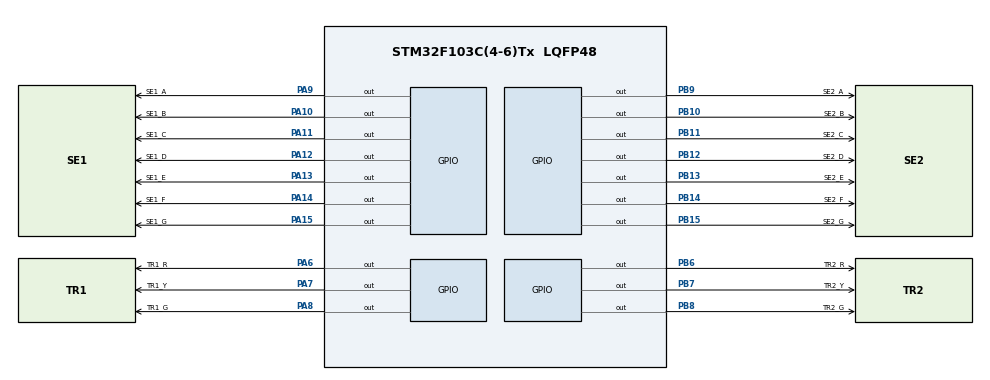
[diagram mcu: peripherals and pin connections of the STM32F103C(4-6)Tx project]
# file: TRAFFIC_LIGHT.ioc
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Mcu.Family=STM32F1
Mcu.Name=STM32F103C(4-6)Tx
Mcu.Package=LQFP48
NVIC.PriorityGroup=NVIC_PRIORITYGROUP_4
PA10.GPIO_Label=SE1_B
PA10.Signal=GPIO_Output
PA11.GPIO_Label=SE1_C
PA11.Signal=GPIO_Output
PA12.GPIO_Label=SE1_D
PA12.Signal=GPIO_Output
PA13.GPIO_Label=SE1_E
PA13.Signal=GPIO_Output
PA14.GPIO_Label=SE1_F
PA14.Signal=GPIO_Output
PA15.GPIO_Label=SE1_G
PA15.Signal=GPIO_Output
PA6.GPIO_Label=TR1_R
PA6.Signal=GPIO_Output
PA7.GPIO_Label=TR1_Y
PA7.Signal=GPIO_Output
PA8.GPIO_Label=TR1_G
PA8.Signal=GPIO_Output
PA9.GPIO_Label=SE1_A
PA9.Signal=GPIO_Output
PB10.GPIO_Label=SE2_B
PB10.Signal=GPIO_Output
PB11.GPIO_Label=SE2_C
PB11.Signal=GPIO_Output
PB12.GPIO_Label=SE2_D
PB12.Signal=GPIO_Output
PB13.GPIO_Label=SE2_E
PB13.Signal=GPIO_Output
PB14.GPIO_Label=SE2_F
PB14.Signal=GPIO_Output
PB15.GPIO_Label=SE2_G
PB15.Signal=GPIO_Output
PB6.GPIO_Label=TR2_R
PB6.Signal=GPIO_Output
PB7.GPIO_Label=TR2_Y
PB7.Signal=GPIO_Output
PB8.GPIO_Label=TR2_G
PB8.Signal=GPIO_Output
PB9.GPIO_Label=SE2_A
PB9.Signal=GPIO_Output
ProjectManager.HeapSize=0x200
ProjectManager.StackSize=0x400
ProjectManager.TargetToolchain=STM32CubeIDE
RCC.APB1Freq_Value=8000000
RCC.APB2Freq_Value=8000000
board=custom

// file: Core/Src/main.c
/* USER CODE BEGIN Header */
/**
  ******************************************************************************
  * @file           : main.c
  * @brief          : Main program body
  ******************************************************************************
  * @attention
  *
  * Copyright (c) 2022 STMicroelectronics.
  * All rights reserved.
  *
  * This software is licensed under terms that can be found in the LICENSE file
  * in the root directory of this software component.
  * If no LICENSE file comes with this software, it is provided AS-IS.
  *
  ******************************************************************************
  */
/* USER CODE END Header */
#include "main.h"

void SystemClock_Config(void);
static void MX_GPIO_Init(void);

int main(void)
{

  /* MCU Configuration--------------------------------------------------------*/

  /* Reset of all peripherals, Initializes the Flash interface and the Systick. */
  HAL_Init();

  /* Configure the system clock */
  SystemClock_Config();

  /* Initialize all configured peripherals */
  MX_GPIO_Init();

  /* Infinite loop */
  /* USER CODE BEGIN WHILE */
  void display7SEG1(int num) {
	  if (num == 0) {
	 	  HAL_GPIO_WritePin(SE1_A_GPIO_Port, SE1_A_Pin, GPIO_PIN_RESET);
	  	  HAL_GPIO_WritePin(SE1_B_GPIO_Port, SE1_B_Pin, GPIO_PIN_RESET);
	 	  HAL_GPIO_WritePin(SE1_C_GPIO_Port, SE1_C_Pin, GPIO_PIN_RESET);
	 	  HAL_GPIO_WritePin(SE1_D_GPIO_Port, SE1_D_Pin, GPIO_PIN_RESET);
	 	  HAL_GPIO_WritePin(SE1_E_GPIO_Port, SE1_E_Pin, GPIO_PIN_RESET);
	 	  HAL_GPIO_WritePin(SE1_F_GPIO_Port, SE1_F_Pin, GPIO_PIN_RESET);
	 	  HAL_GPIO_WritePin(SE1_G_GPIO_Port, SE1_G_Pin, GPIO_PIN_SET);
	  }
	  else if (num == 1) {
		  HAL_GPIO_WritePin(SE1_A_GPIO_Port, SE1_A_Pin, GPIO_PIN_SET);
		  HAL_GPIO_WritePin(SE1_B_GPIO_Port, SE1_B_Pin, GPIO_PIN_RESET);
		  HAL_GPIO_WritePin(SE1_C_GPIO_Port, SE1_C_Pin, GPIO_PIN_RESET);
		  HAL_GPIO_WritePin(SE1_D_GPIO_Port, SE1_D_Pin, GPIO_PIN_SET);
		  HAL_GPIO_WritePin(SE1_E_GPIO_Port, SE1_E_Pin, GPIO_PIN_SET);
		  HAL_GPIO_WritePin(SE1_F_GPIO_Port, SE1_F_Pin, GPIO_PIN_SET);
		  HAL_GPIO_WritePin(SE1_G_GPIO_Port, SE1_G_Pin, GPIO_PIN_SET);
	  }
	  else if (num == 2) {
		  HAL_GPIO_WritePin(SE1_A_GPIO_Port, SE1_A_Pin, GPIO_PIN_RESET);
		  HAL_GPIO_WritePin(SE1_B_GPIO_Port, SE1_B_Pin, GPIO_PIN_RESET);
		  HAL_GPIO_WritePin(SE1_C_GPIO_Port, SE1_C_Pin, GPIO_PIN_SET);
		  HAL_GPIO_WritePin(SE1_D_GPIO_Port, SE1_D_Pin, GPIO_PIN_RESET);
		  HAL_GPIO_WritePin(SE1_E_GPIO_Port, SE1_E_Pin, GPIO_PIN_RESET);
		  HAL_GPIO_WritePin(SE1_F_GPIO_Port, SE1_F_Pin, GPIO_PIN_SET);
		  HAL_GPIO_WritePin(SE1_G_GPIO_Port, SE1_G_Pin, GPIO_PIN_RESET);
	  }
	  else if (num == 3) {
		  HAL_GPIO_WritePin(SE1_A_GPIO_Port, SE1_A_Pin, GPIO_PIN_RESET);
		  HAL_GPIO_WritePin(SE1_B_GPIO_Port, SE1_B_Pin, GPIO_PIN_RESET);
		  HAL_GPIO_WritePin(SE1_C_GPIO_Port, SE1_C_Pin, GPIO_PIN_RESET);
		  HAL_GPIO_WritePin(SE1_D_GPIO_Port, SE1_D_Pin, GPIO_PIN_RESET);
		  HAL_GPIO_WritePin(SE1_E_GPIO_Port, SE1_E_Pin, GPIO_PIN_SET);
		  HAL_GPIO_WritePin(SE1_F_GPIO_Port, SE1_F_Pin, GPIO_PIN_SET);
		  HAL_GPIO_WritePin(SE1_G_GPIO_Port, SE1_G_Pin, GPIO_PIN_RESET);
	  }
	  else if (num == 4) {
		  HAL_GPIO_WritePin(SE1_A_GPIO_Port, SE1_A_Pin, GPIO_PIN_SET);
		  HAL_GPIO_WritePin(SE1_B_GPIO_Port, SE1_B_Pin, GPIO_PIN_RESET);
		  HAL_GPIO_WritePin(SE1_C_GPIO_Port, SE1_C_Pin, GPIO_PIN_RESET);
		  HAL_GPIO_WritePin(SE1_D_GPIO_Port, SE1_D_Pin, GPIO_PIN_SET);
		  HAL_GPIO_WritePin(SE1_E_GPIO_Port, SE1_E_Pin, GPIO_PIN_SET);
		  HAL_GPIO_WritePin(SE1_F_GPIO_Port, SE1_F_Pin, GPIO_PIN_RESET);
		  HAL_GPIO_WritePin(SE1_G_GPIO_Port, SE1_G_Pin, GPIO_PIN_RESET);
	  }
	  else if (num == 5) {
		  HAL_GPIO_WritePin(SE1_A_GPIO_Port, SE1_A_Pin, GPIO_PIN_RESET);
		  HAL_GPIO_WritePin(SE1_B_GPIO_Port, SE1_B_Pin, GPIO_PIN_SET);
		  HAL_GPIO_WritePin(SE1_C_GPIO_Port, SE1_C_Pin, GPIO_PIN_RESET);
		  HAL_GPIO_WritePin(SE1_D_GPIO_Port, SE1_D_Pin, GPIO_PIN_RESET);
		  HAL_GPIO_WritePin(SE1_E_GPIO_Port, SE1_E_Pin, GPIO_PIN_SET);
		  HAL_GPIO_WritePin(SE1_F_GPIO_Port, SE1_F_Pin, GPIO_PIN_RESET);
		  HAL_GPIO_WritePin(SE1_G_GPIO_Port, SE1_G_Pin, GPIO_PIN_RESET);
	  }
	  else if (num == 6) {
		  HAL_GPIO_WritePin(SE1_A_GPIO_Port, SE1_A_Pin, GPIO_PIN_RESET);
		  HAL_GPIO_WritePin(SE1_B_GPIO_Port, SE1_B_Pin, GPIO_PIN_SET);
		  HAL_GPIO_WritePin(SE1_C_GPIO_Port, SE1_C_Pin, GPIO_PIN_RESET);
		  HAL_GPIO_WritePin(SE1_D_GPIO_Port, SE1_D_Pin, GPIO_PIN_RESET);
		  HAL_GPIO_WritePin(SE1_E_GPIO_Port, SE1_E_Pin, GPIO_PIN_RESET);
		  HAL_GPIO_WritePin(SE1_F_GPIO_Port, SE1_F_Pin, GPIO_PIN_RESET);
		  HAL_GPIO_WritePin(SE1_G_GPIO_Port, SE1_G_Pin, GPIO_PIN_RESET);
	  }
	  else if (num == 7) {
		  HAL_GPIO_WritePin(SE1_A_GPIO_Port, SE1_A_Pin, GPIO_PIN_RESET);
		  HAL_GPIO_WritePin(SE1_B_GPIO_Port, SE1_B_Pin, GPIO_PIN_RESET);
		  HAL_GPIO_WritePin(SE1_C_GPIO_Port, SE1_C_Pin, GPIO_PIN_RESET);
		  HAL_GPIO_WritePin(SE1_D_GPIO_Port, SE1_D_Pin, GPIO_PIN_SET);
		  HAL_GPIO_WritePin(SE1_E_GPIO_Port, SE1_E_Pin, GPIO_PIN_SET);
		  HAL_GPIO_WritePin(SE1_F_GPIO_Port, SE1_F_Pin, GPIO_PIN_SET);
		  HAL_GPIO_WritePin(SE1_G_GPIO_Port, SE1_G_Pin, GPIO_PIN_SET);
	  }
	  else if (num == 8) {
		  HAL_GPIO_WritePin(SE1_A_GPIO_Port, SE1_A_Pin, GPIO_PIN_RESET);
		  HAL_GPIO_WritePin(SE1_B_GPIO_Port, SE1_B_Pin, GPIO_PIN_RESET);
		  HAL_GPIO_WritePin(SE1_C_GPIO_Port, SE1_C_Pin, GPIO_PIN_RESET);
		  HAL_GPIO_WritePin(SE1_D_GPIO_Port, SE1_D_Pin, GPIO_PIN_RESET);
		  HAL_GPIO_WritePin(SE1_E_GPIO_Port, SE1_E_Pin, GPIO_PIN_RESET);
		  HAL_GPIO_WritePin(SE1_F_GPIO_Port, SE1_F_Pin, GPIO_PIN_RESET);
		  HAL_GPIO_WritePin(SE1_G_GPIO_Port, SE1_G_Pin, GPIO_PIN_RESET);
	  }
	  else if (num == 9) {
		  HAL_GPIO_WritePin(SE1_A_GPIO_Port, SE1_A_Pin, GPIO_PIN_RESET);
		  HAL_GPIO_WritePin(SE1_B_GPIO_Port, SE1_B_Pin, GPIO_PIN_RESET);
		  HAL_GPIO_WritePin(SE1_C_GPIO_Port, SE1_C_Pin, GPIO_PIN_RESET);
		  HAL_GPIO_WritePin(SE1_D_GPIO_Port, SE1_D_Pin, GPIO_PIN_RESET);
		  HAL_GPIO_WritePin(SE1_E_GPIO_Port, SE1_E_Pin, GPIO_PIN_SET);
		  HAL_GPIO_WritePin(SE1_F_GPIO_Port, SE1_F_Pin, GPIO_PIN_RESET);
		  HAL_GPIO_WritePin(SE1_G_GPIO_Port, SE1_G_Pin, GPIO_PIN_RESET);
	  }
	  else {
		  HAL_GPIO_WritePin(SE1_A_GPIO_Port, SE1_A_Pin, GPIO_PIN_SET);
		  HAL_GPIO_WritePin(SE1_B_GPIO_Port, SE1_B_Pin, GPIO_PIN_SET);
		  HAL_GPIO_WritePin(SE1_C_GPIO_Port, SE1_C_Pin, GPIO_PIN_SET);
		  HAL_GPIO_WritePin(SE1_D_GPIO_Port, SE1_D_Pin, GPIO_PIN_SET);
		  HAL_GPIO_WritePin(SE1_E_GPIO_Port, SE1_E_Pin, GPIO_PIN_SET);
		  HAL_GPIO_WritePin(SE1_F_GPIO_Port, SE1_F_Pin, GPIO_PIN_SET);
		  HAL_GPIO_WritePin(SE1_G_GPIO_Port, SE1_G_Pin, GPIO_PIN_SET);
	  }
  }
  void display7SEG2(int num) {
	  if (num == 0) {
	 	  HAL_GPIO_WritePin(SE2_A_GPIO_Port, SE2_A_Pin, GPIO_PIN_RESET);
	  	  HAL_GPIO_WritePin(SE2_B_GPIO_Port, SE2_B_Pin, GPIO_PIN_RESET);
	 	  HAL_GPIO_WritePin(SE2_C_GPIO_Port, SE2_C_Pin, GPIO_PIN_RESET);
	 	  HAL_GPIO_WritePin(SE2_D_GPIO_Port, SE2_D_Pin, GPIO_PIN_RESET);
	 	  HAL_GPIO_WritePin(SE2_E_GPIO_Port, SE2_E_Pin, GPIO_PIN_RESET);
	 	  HAL_GPIO_WritePin(SE2_F_GPIO_Port, SE2_F_Pin, GPIO_PIN_RESET);
	 	  HAL_GPIO_WritePin(SE2_G_GPIO_Port, SE2_G_Pin, GPIO_PIN_SET);
	  }
	  else if (num == 1) {
		  HAL_GPIO_WritePin(SE2_A_GPIO_Port, SE2_A_Pin, GPIO_PIN_SET);
		  HAL_GPIO_WritePin(SE2_B_GPIO_Port, SE2_B_Pin, GPIO_PIN_RESET);
		  HAL_GPIO_WritePin(SE2_C_GPIO_Port, SE2_C_Pin, GPIO_PIN_RESET);
		  HAL_GPIO_WritePin(SE2_D_GPIO_Port, SE2_D_Pin, GPIO_PIN_SET);
		  HAL_GPIO_WritePin(SE2_E_GPIO_Port, SE2_E_Pin, GPIO_PIN_SET);
		  HAL_GPIO_WritePin(SE2_F_GPIO_Port, SE2_F_Pin, GPIO_PIN_SET);
		  HAL_GPIO_WritePin(SE2_G_GPIO_Port, SE2_G_Pin, GPIO_PIN_SET);
	  }
	  else if (num == 2) {
		  HAL_GPIO_WritePin(SE2_A_GPIO_Port, SE2_A_Pin, GPIO_PIN_RESET);
		  HAL_GPIO_WritePin(SE2_B_GPIO_Port, SE2_B_Pin, GPIO_PIN_RESET);
		  HAL_GPIO_WritePin(SE2_C_GPIO_Port, SE2_C_Pin, GPIO_PIN_SET);
		  HAL_GPIO_WritePin(SE2_D_GPIO_Port, SE2_D_Pin, GPIO_PIN_RESET);
		  HAL_GPIO_WritePin(SE2_E_GPIO_Port, SE2_E_Pin, GPIO_PIN_RESET);
		  HAL_GPIO_WritePin(SE2_F_GPIO_Port, SE2_F_Pin, GPIO_PIN_SET);
		  HAL_GPIO_WritePin(SE2_G_GPIO_Port, SE2_G_Pin, GPIO_PIN_RESET);
	  }
	  else if (num == 3) {
		  HAL_GPIO_WritePin(SE2_A_GPIO_Port, SE2_A_Pin, GPIO_PIN_RESET);
		  HAL_GPIO_WritePin(SE2_B_GPIO_Port, SE2_B_Pin, GPIO_PIN_RESET);
		  HAL_GPIO_WritePin(SE2_C_GPIO_Port, SE2_C_Pin, GPIO_PIN_RESET);
		  HAL_GPIO_WritePin(SE2_D_GPIO_Port, SE2_D_Pin, GPIO_PIN_RESET);
		  HAL_GPIO_WritePin(SE2_E_GPIO_Port, SE2_E_Pin, GPIO_PIN_SET);
		  HAL_GPIO_WritePin(SE2_F_GPIO_Port, SE2_F_Pin, GPIO_PIN_SET);
		  HAL_GPIO_WritePin(SE2_G_GPIO_Port, SE2_G_Pin, GPIO_PIN_RESET);
	  }
	  else if (num == 4) {
		  HAL_GPIO_WritePin(SE2_A_GPIO_Port, SE2_A_Pin, GPIO_PIN_SET);
		  HAL_GPIO_WritePin(SE2_B_GPIO_Port, SE2_B_Pin, GPIO_PIN_RESET);
		  HAL_GPIO_WritePin(SE2_C_GPIO_Port, SE2_C_Pin, GPIO_PIN_RESET);
		  HAL_GPIO_WritePin(SE2_D_GPIO_Port, SE2_D_Pin, GPIO_PIN_SET);
		  HAL_GPIO_WritePin(SE2_E_GPIO_Port, SE2_E_Pin, GPIO_PIN_SET);
		  HAL_GPIO_WritePin(SE2_F_GPIO_Port, SE2_F_Pin, GPIO_PIN_RESET);
		  HAL_GPIO_WritePin(SE2_G_GPIO_Port, SE2_G_Pin, GPIO_PIN_RESET);
	  }
	  else if (num == 5) {
		  HAL_GPIO_WritePin(SE2_A_GPIO_Port, SE2_A_Pin, GPIO_PIN_RESET);
		  HAL_GPIO_WritePin(SE2_B_GPIO_Port, SE2_B_Pin, GPIO_PIN_SET);
		  HAL_GPIO_WritePin(SE2_C_GPIO_Port, SE2_C_Pin, GPIO_PIN_RESET);
		  HAL_GPIO_WritePin(SE2_D_GPIO_Port, SE2_D_Pin, GPIO_PIN_RESET);
		  HAL_GPIO_WritePin(SE2_E_GPIO_Port, SE2_E_Pin, GPIO_PIN_SET);
		  HAL_GPIO_WritePin(SE2_F_GPIO_Port, SE2_F_Pin, GPIO_PIN_RESET);
		  HAL_GPIO_WritePin(SE2_G_GPIO_Port, SE2_G_Pin, GPIO_PIN_RESET);
	  }
	  else if (num == 6) {
		  HAL_GPIO_WritePin(SE2_A_GPIO_Port, SE2_A_Pin, GPIO_PIN_RESET);
		  HAL_GPIO_WritePin(SE2_B_GPIO_Port, SE2_B_Pin, GPIO_PIN_SET);
		  HAL_GPIO_WritePin(SE2_C_GPIO_Port, SE2_C_Pin, GPIO_PIN_RESET);
		  HAL_GPIO_WritePin(SE2_D_GPIO_Port, SE2_D_Pin, GPIO_PIN_RESET);
		  HAL_GPIO_WritePin(SE2_E_GPIO_Port, SE2_E_Pin, GPIO_PIN_RESET);
		  HAL_GPIO_WritePin(SE2_F_GPIO_Port, SE2_F_Pin, GPIO_PIN_RESET);
		  HAL_GPIO_WritePin(SE2_G_GPIO_Port, SE2_G_Pin, GPIO_PIN_RESET);
	  }
	  else if (num == 7) {
		  HAL_GPIO_WritePin(SE2_A_GPIO_Port, SE2_A_Pin, GPIO_PIN_RESET);
		  HAL_GPIO_WritePin(SE2_B_GPIO_Port, SE2_B_Pin, GPIO_PIN_RESET);
		  HAL_GPIO_WritePin(SE2_C_GPIO_Port, SE2_C_Pin, GPIO_PIN_RESET);
		  HAL_GPIO_WritePin(SE2_D_GPIO_Port, SE2_D_Pin, GPIO_PIN_SET);
		  HAL_GPIO_WritePin(SE2_E_GPIO_Port, SE2_E_Pin, GPIO_PIN_SET);
		  HAL_GPIO_WritePin(SE2_F_GPIO_Port, SE2_F_Pin, GPIO_PIN_SET);
		  HAL_GPIO_WritePin(SE2_G_GPIO_Port, SE2_G_Pin, GPIO_PIN_SET);
	  }
	  else if (num == 8) {
		  HAL_GPIO_WritePin(SE2_A_GPIO_Port, SE2_A_Pin, GPIO_PIN_RESET);
		  HAL_GPIO_WritePin(SE2_B_GPIO_Port, SE2_B_Pin, GPIO_PIN_RESET);
		  HAL_GPIO_WritePin(SE2_C_GPIO_Port, SE2_C_Pin, GPIO_PIN_RESET);
		  HAL_GPIO_WritePin(SE2_D_GPIO_Port, SE2_D_Pin, GPIO_PIN_RESET);
		  HAL_GPIO_WritePin(SE2_E_GPIO_Port, SE2_E_Pin, GPIO_PIN_RESET);
		  HAL_GPIO_WritePin(SE2_F_GPIO_Port, SE2_F_Pin, GPIO_PIN_RESET);
		  HAL_GPIO_WritePin(SE2_G_GPIO_Port, SE2_G_Pin, GPIO_PIN_RESET);
	  }
	  else if (num == 9) {
		  HAL_GPIO_WritePin(SE2_A_GPIO_Port, SE2_A_Pin, GPIO_PIN_RESET);
		  HAL_GPIO_WritePin(SE2_B_GPIO_Port, SE2_B_Pin, GPIO_PIN_RESET);
		  HAL_GPIO_WritePin(SE2_C_GPIO_Port, SE2_C_Pin, GPIO_PIN_RESET);
		  HAL_GPIO_WritePin(SE2_D_GPIO_Port, SE2_D_Pin, GPIO_PIN_RESET);
		  HAL_GPIO_WritePin(SE2_E_GPIO_Port, SE2_E_Pin, GPIO_PIN_SET);
		  HAL_GPIO_WritePin(SE2_F_GPIO_Port, SE2_F_Pin, GPIO_PIN_RESET);
		  HAL_GPIO_WritePin(SE2_G_GPIO_Port, SE2_G_Pin, GPIO_PIN_RESET);
	  }
	  else {
		  HAL_GPIO_WritePin(SE2_A_GPIO_Port, SE2_A_Pin, GPIO_PIN_SET);
		  HAL_GPIO_WritePin(SE2_B_GPIO_Port, SE2_B_Pin, GPIO_PIN_SET);
		  HAL_GPIO_WritePin(SE2_C_GPIO_Port, SE2_C_Pin, GPIO_PIN_SET);
		  HAL_GPIO_WritePin(SE2_D_GPIO_Port, SE2_D_Pin, GPIO_PIN_SET);
		  HAL_GPIO_WritePin(SE2_E_GPIO_Port, SE2_E_Pin, GPIO_PIN_SET);
		  HAL_GPIO_WritePin(SE2_F_GPIO_Port, SE2_F_Pin, GPIO_PIN_SET);
		  HAL_GPIO_WritePin(SE2_G_GPIO_Port, SE2_G_Pin, GPIO_PIN_SET);
	  }
  }
  // Preset LED status (All off)
  HAL_GPIO_WritePin(TR1_R_GPIO_Port, TR1_R_Pin, GPIO_PIN_SET);
  HAL_GPIO_WritePin(TR1_Y_GPIO_Port, TR1_Y_Pin, GPIO_PIN_SET);
  HAL_GPIO_WritePin(TR1_G_GPIO_Port, TR1_G_Pin, GPIO_PIN_SET);
  HAL_GPIO_WritePin(TR2_R_GPIO_Port, TR2_R_Pin, GPIO_PIN_SET);
  HAL_GPIO_WritePin(TR2_Y_GPIO_Port, TR2_Y_Pin, GPIO_PIN_SET);
  HAL_GPIO_WritePin(TR2_G_GPIO_Port, TR2_G_Pin, GPIO_PIN_SET);
  while (1)
  {
	  for (int i = 9; i >= 0; i --) {
		  if (i >= 5) {
			  HAL_GPIO_WritePin(TR1_Y_GPIO_Port, TR1_Y_Pin, GPIO_PIN_SET);
			  HAL_GPIO_WritePin(TR1_R_GPIO_Port, TR1_R_Pin, GPIO_PIN_RESET);
			  display7SEG1(i - 5);
		  }
		  else if (i >= 2) {
			  HAL_GPIO_WritePin(TR1_R_GPIO_Port, TR1_R_Pin, GPIO_PIN_SET);
			  HAL_GPIO_WritePin(TR1_G_GPIO_Port, TR1_G_Pin, GPIO_PIN_RESET);
			  display7SEG1(i - 2);
		  }
		  else {
			  HAL_GPIO_WritePin(TR1_G_GPIO_Port, TR1_G_Pin, GPIO_PIN_SET);
			  HAL_GPIO_WritePin(TR1_Y_GPIO_Port, TR1_Y_Pin, GPIO_PIN_RESET);
			  display7SEG1(i);
		  }
		  if (i >= 7) {
			  HAL_GPIO_WritePin(TR2_R_GPIO_Port, TR2_R_Pin, GPIO_PIN_SET);
			  HAL_GPIO_WritePin(TR2_G_GPIO_Port, TR2_G_Pin, GPIO_PIN_RESET);
			  display7SEG2(i - 7);
		  }
		  else if (i >= 5) {
			  HAL_GPIO_WritePin(TR2_G_GPIO_Port, TR2_G_Pin, GPIO_PIN_SET);
			  HAL_GPIO_WritePin(TR2_Y_GPIO_Port, TR2_Y_Pin, GPIO_PIN_RESET);
			  display7SEG2(i - 5);
		  }
		  else {
			  HAL_GPIO_WritePin(TR2_Y_GPIO_Port, TR2_Y_Pin, GPIO_PIN_SET);
			  HAL_GPIO_WritePin(TR2_R_GPIO_Port, TR2_R_Pin, GPIO_PIN_RESET);
			  display7SEG2(i);
		  }
		  HAL_Delay(1000);
	  }
    /* USER CODE END WHILE */

  }
}

void SystemClock_Config(void)
{
  RCC_OscInitTypeDef RCC_OscInitStruct = {0};
  RCC_ClkInitTypeDef RCC_ClkInitStruct = {0};

  /** Initializes the RCC Oscillators according to the specified parameters
  * in the RCC_OscInitTypeDef structure.
  */
  RCC_OscInitStruct.OscillatorType = RCC_OSCILLATORTYPE_HSI;
  RCC_OscInitStruct.HSIState = RCC_HSI_ON;
  RCC_OscInitStruct.HSICalibrationValue = RCC_HSICALIBRATION_DEFAULT;
  RCC_OscInitStruct.PLL.PLLState = RCC_PLL_NONE;
  if (HAL_RCC_OscConfig(&RCC_OscInitStruct) != HAL_OK)
  {
    Error_Handler();
  }

  /** Initializes the CPU, AHB and APB buses clocks
  */
  RCC_ClkInitStruct.ClockType = RCC_CLOCKTYPE_HCLK|RCC_CLOCKTYPE_SYSCLK
                              |RCC_CLOCKTYPE_PCLK1|RCC_CLOCKTYPE_PCLK2;
  RCC_ClkInitStruct.SYSCLKSource = RCC_SYSCLKSOURCE_HSI;
  RCC_ClkInitStruct.AHBCLKDivider = RCC_SYSCLK_DIV1;
  RCC_ClkInitStruct.APB1CLKDivider = RCC_HCLK_DIV1;
  RCC_ClkInitStruct.APB2CLKDivider = RCC_HCLK_DIV1;

  if (HAL_RCC_ClockConfig(&RCC_ClkInitStruct, FLASH_LATENCY_0) != HAL_OK)
  {
    Error_Handler();
  }
}

static void MX_GPIO_Init(void)
{
  GPIO_InitTypeDef GPIO_InitStruct = {0};

  /* GPIO Ports Clock Enable */
  __HAL_RCC_GPIOA_CLK_ENABLE();
  __HAL_RCC_GPIOB_CLK_ENABLE();

  /*Configure GPIO pin Output Level */
  HAL_GPIO_WritePin(GPIOA, TR1_R_Pin|TR1_Y_Pin|TR1_G_Pin|SE1_A_Pin
                          |SE1_B_Pin|SE1_C_Pin|SE1_D_Pin|SE1_E_Pin
                          |SE1_F_Pin|SE1_G_Pin, GPIO_PIN_RESET);

  /*Configure GPIO pin Output Level */
  HAL_GPIO_WritePin(GPIOB, SE2_B_Pin|SE2_C_Pin|SE2_D_Pin|SE2_E_Pin
                          |SE2_F_Pin|SE2_G_Pin|TR2_R_Pin|TR2_Y_Pin
                          |TR2_G_Pin|SE2_A_Pin, GPIO_PIN_RESET);

  /*Configure GPIO pins : TR1_R_Pin TR1_Y_Pin TR1_G_Pin SE1_A_Pin
                           SE1_B_Pin SE1_C_Pin SE1_D_Pin SE1_E_Pin
                           SE1_F_Pin SE1_G_Pin */
  GPIO_InitStruct.Pin = TR1_R_Pin|TR1_Y_Pin|TR1_G_Pin|SE1_A_Pin
                          |SE1_B_Pin|SE1_C_Pin|SE1_D_Pin|SE1_E_Pin
                          |SE1_F_Pin|SE1_G_Pin;
  GPIO_InitStruct.Mode = GPIO_MODE_OUTPUT_PP;
  GPIO_InitStruct.Pull = GPIO_NOPULL;
  GPIO_InitStruct.Speed = GPIO_SPEED_FREQ_LOW;
  HAL_GPIO_Init(GPIOA, &GPIO_InitStruct);

  /*Configure GPIO pins : SE2_B_Pin SE2_C_Pin SE2_D_Pin SE2_E_Pin
                           SE2_F_Pin SE2_G_Pin TR2_R_Pin TR2_Y_Pin
                           TR2_G_Pin SE2_A_Pin */
  GPIO_InitStruct.Pin = SE2_B_Pin|SE2_C_Pin|SE2_D_Pin|SE2_E_Pin
                          |SE2_F_Pin|SE2_G_Pin|TR2_R_Pin|TR2_Y_Pin
                          |TR2_G_Pin|SE2_A_Pin;
  GPIO_InitStruct.Mode = GPIO_MODE_OUTPUT_PP;
  GPIO_InitStruct.Pull = GPIO_NOPULL;
  GPIO_InitStruct.Speed = GPIO_SPEED_FREQ_LOW;
  HAL_GPIO_Init(GPIOB, &GPIO_InitStruct);

}

void Error_Handler(void)
{
  __disable_irq();
  while (1)
  {
  }
}
